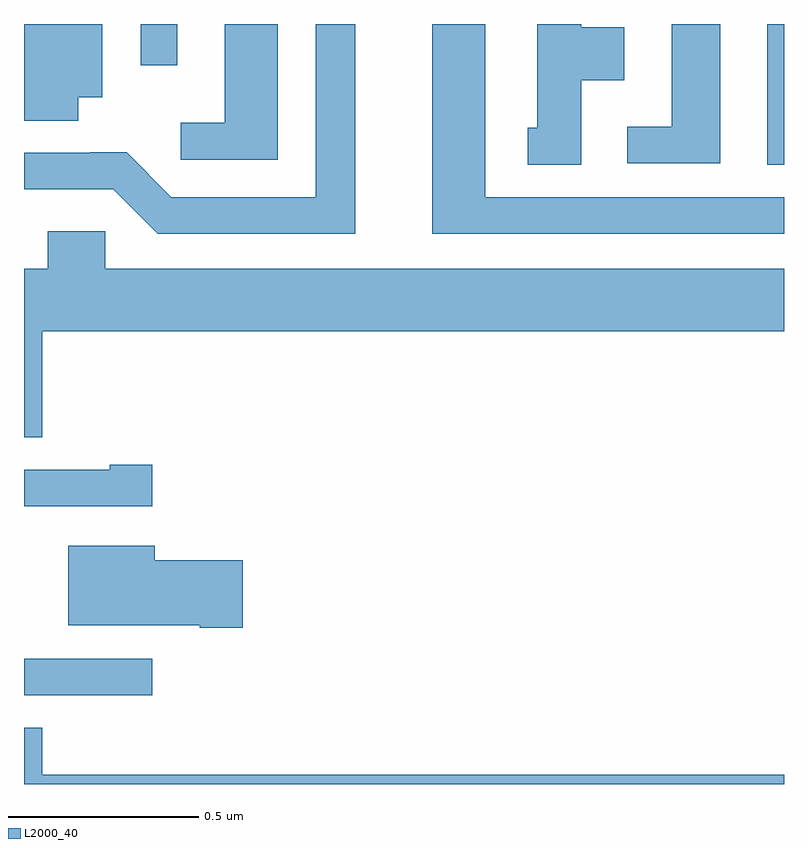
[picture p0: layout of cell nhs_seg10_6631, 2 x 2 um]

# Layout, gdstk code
import gdstk
lib = gdstk.Library(unit=1e-6, precision=1e-09)
def R(c, l, rs):  # rectangles x0, y0, x1, y1
    for r in rs: c.add(gdstk.rectangle(r[:2], r[2:], *l))
def P(c, l, *ps):  # polygons
    for p in ps: c.add(gdstk.Polygon(p, *l))
L2000_40 = (2000, 40)

nhs_seg10_6631 = lib.new_cell('nhs_seg10_6631')
R(nhs_seg10_6631, L2000_40, [(194,1256.733,194.338,1256.829), (195.956,1258.129,196,1258.5), (194.307,1258.392,194.403,1258.5)])
P(nhs_seg10_6631, L2000_40, [(195.832,1258.5),(195.704,1258.5),(195.704,1258.23),(195.588,1258.23),(195.588,1258.134),(195.832,1258.134)],
  [(194.143,1258.307),(194.206,1258.307),(194.206,1258.5),(194,1258.5),(194,1258.246),(194.143,1258.246)],
  [(195.466,1258.352),(195.58,1258.352),(195.58,1258.492),(195.466,1258.492),(195.466,1258.5),(195.35,1258.5),(195.35,1258.227),(195.326,1258.227),(195.326,1258.129),(195.466,1258.129)],
  [(196,1258.044),(195.214,1258.044),(195.214,1258.5),(195.074,1258.5),(195.074,1257.948),(196,1257.948)],
  [(194.872,1258.5),(194.768,1258.5),(194.768,1258.044),(194.388,1258.044),(194.27,1258.162),(194.174,1258.162),(194.174,1258.161),(194,1258.161),(194,1258.065),(194.235,1258.065),(194.352,1257.948),(194.872,1257.948)],
  [(194.668,1258.5),(194.528,1258.5),(194.528,1258.24),(194.412,1258.24),(194.412,1258.143),(194.668,1258.143)],
  [(194.048,1257.692),(196,1257.692),(196,1257.856),(194.214,1257.856),(194.214,1257.954),(194.063,1257.954),(194.063,1257.856),(194,1257.856),(194,1257.412),(194.048,1257.412)],
  [(194.338,1257.34),(194.225,1257.34),(194.225,1257.327),(194,1257.327),(194,1257.231),(194.338,1257.231)],
  [(194.575,1257.089),(194.344,1257.089),(194.344,1257.127),(194.117,1257.127),(194.117,1256.918),(194.462,1256.918),(194.462,1256.911),(194.575,1256.911)],
  [(196,1256.524),(194.048,1256.524),(194.048,1256.648),(194,1256.648),(194,1256.5),(196,1256.5)])

lib.write_gds('nhs_seg10_6631.gds')
